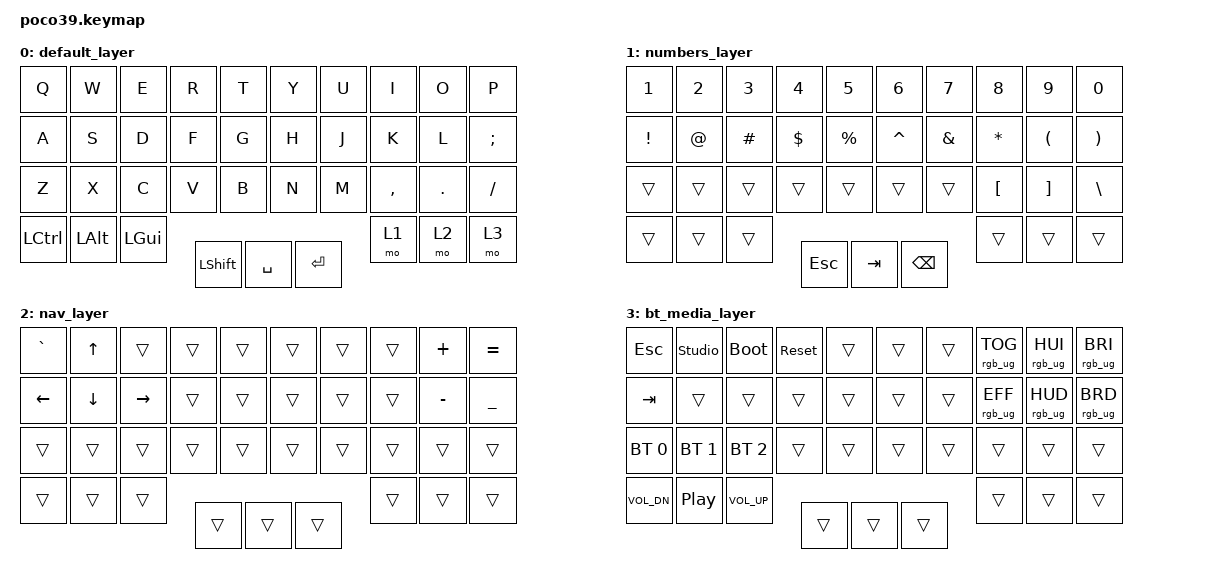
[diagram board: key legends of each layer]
#include <behaviors.dtsi>
#include <dt-bindings/zmk/keys.h>
#include <dt-bindings/zmk/bt.h>
#include <dt-bindings/zmk/rgb.h>

/ {
    keymap {
        compatible = "zmk,keymap";

        default_layer {
            // ┌─────┬─────┬─────┬─────┬─────┬─────┬─────┬─────┬─────┬─────┐
            // │  Q  │  W  │  E  │  R  │  T  │  Y  │  U  │  I  │  O  │  P  │
            // ├─────┼─────┼─────┼─────┼─────┼─────┼─────┼─────┼─────┼─────┤
            // │  A  │  S  │  D  │  F  │  G  │  H  │  J  │  K  │  L  │  ;  │
            // ├─────┼─────┼─────┼─────┼─────┼─────┼─────┼─────┼─────┼─────┤
            // │  Z  │  X  │  C  │  V  │  B  │  N  │  M  │  ,  │  .  │  /  │
            // ├─────┼─────┼─────┼─────┼─────┼─────┼─────┼─────┼─────┤
            // │CTRL │ ALT │ GUI │SHFT │ SPC │ ENT │     │MO1  │MO2  │MO3  │
            // └─────┴─────┴─────┴─────┴─────┴─────┴─────┴─────┴─────┘
            bindings = <
                &kp Q     &kp W    &kp E    &kp R     &kp T     &kp Y   &kp U  &kp I     &kp O    &kp P
                &kp A     &kp S    &kp D    &kp F     &kp G     &kp H   &kp J  &kp K     &kp L    &kp SEMI
                &kp Z     &kp X    &kp C    &kp V     &kp B     &kp N   &kp M  &kp COMMA &kp DOT  &kp FSLH
                &kp LCTRL &kp LALT &kp LGUI &kp LSHFT &kp SPACE &kp RET        &mo 1     &mo 2    &mo 3
            >;
        };

        numbers_layer {
            // ┌─────┬─────┬─────┬─────┬─────┬─────┬─────┬─────┬─────┬─────┐
            // │  1  │  2  │  3  │  4  │  5  │  6  │  7  │  8  │  9  │  0  │
            // ├─────┼─────┼─────┼─────┼─────┼─────┼─────┼─────┼─────┼─────┤
            // │  !  │  @  │  #  │  $  │  %  │  ^  │  &  │  *  │  (  │  )  │
            // ├─────┼─────┼─────┼─────┼─────┼─────┼─────┼─────┼─────┼─────┤
            // │     │     │     │     │     │     │     │  [  │  ]  │  \  │
            // ├─────┼─────┼─────┼─────┼─────┼─────┼─────┼─────┼─────┤
            // │     │     │     │     │     │     │     │     │     │
            // └─────┴─────┴─────┴─────┴─────┴─────┴─────┴─────┴─────┘
            bindings = <
                &kp N1   &kp N2  &kp N3   &kp N4   &kp N5    &kp N6    &kp N7   &kp N8   &kp N9   &kp N0
                &kp EXCL &kp AT  &kp HASH &kp DLLR &kp PRCNT &kp CARET &kp AMPS &kp STAR &kp LPAR &kp RPAR
                &trans   &trans  &trans   &trans   &trans    &trans    &trans   &kp LBKT &kp RBKT &kp BSLH
                &trans   &trans  &trans   &kp ESC  &kp TAB   &kp BSPC           &trans   &trans   &trans
            >;
        };

        nav_layer {
            // ┌─────┬─────┬─────┬─────┬─────┬─────┬─────┬─────┬─────┬─────┐
            // │  `  │  ↑  │     │     │     │     │     │     │  +  │  =  │
            // ├─────┼─────┼─────┼─────┼─────┼─────┼─────┼─────┼─────┼─────┤
            // │  ←  │  ↓  │  →  │     │     │     │     │     │  -  │  _  │
            // ├─────┼─────┼─────┼─────┼─────┼─────┼─────┼─────┼─────┼─────┤
            // │     │     │     │     │     │     │     │     │     │     │
            // ├─────┼─────┼─────┼─────┼─────┼─────┼─────┼─────┼─────┤
            // │     │     │     │     │     │     │     │     │     │
            // └─────┴─────┴─────┴─────┴─────┴─────┴─────┴─────┴─────┘
            bindings = <
                &kp GRAVE &kp UP   &trans    &trans  &trans  &trans  &trans  &trans  &kp PLUS  &kp EQUAL
                &kp LEFT  &kp DOWN &kp RIGHT &trans  &trans  &trans  &trans  &trans  &kp MINUS &kp UNDER
                &trans    &trans   &trans    &trans  &trans  &trans  &trans  &trans  &trans    &trans
                &trans    &trans   &trans    &trans  &trans  &trans          &trans  &trans  &trans
            >;
        };

        bt_media_layer {
            // ┌─────┬─────┬─────┬─────┬─────┬─────┬─────┬─────┬─────┬─────┐
            // │ ESC │UNLK │BOOT │RST  │     │     │     │RGTG │HUE+ │BRT+ │
            // ├─────┼─────┼─────┼─────┼─────┼─────┼─────┼─────┼─────┼─────┤
            // │ TAB │     │     │     │     │     │     │EFF+ │HUE- │BRT- │
            // ├─────┼─────┼─────┼─────┼─────┼─────┼─────┼─────┼─────┼─────┤
            // │ BT0 │ BT1 │ BT2 │     │     │     │     │     │     │     │
            // ├─────┼─────┼─────┼─────┼─────┼─────┼─────┼─────┼─────┤
            // │VOL- │ PP  │VOL+ │     │     │     │     │     │     │
            // └─────┴─────┴─────┴─────┴─────┴─────┴─────┴─────┴─────┘
            bindings = <
                &kp ESC      &studio_unlock &bootloader  &sys_reset  &trans  &trans  &trans  &rgb_ug RGB_TOG  &rgb_ug RGB_HUI  &rgb_ug RGB_BRI
                &kp TAB      &trans         &trans       &trans  &trans  &trans  &trans  &rgb_ug RGB_EFF  &rgb_ug RGB_HUD  &rgb_ug RGB_BRD
                &bt BT_SEL 0 &bt BT_SEL 1   &bt BT_SEL 2 &trans  &trans  &trans  &trans  &trans           &trans           &trans
                &kp C_VOL_DN &kp C_PP       &kp C_VOL_UP &trans  &trans  &trans          &trans           &trans  &trans
            >;
        };

        extra_layer {
            status = "reserved";
        };
    };
};
